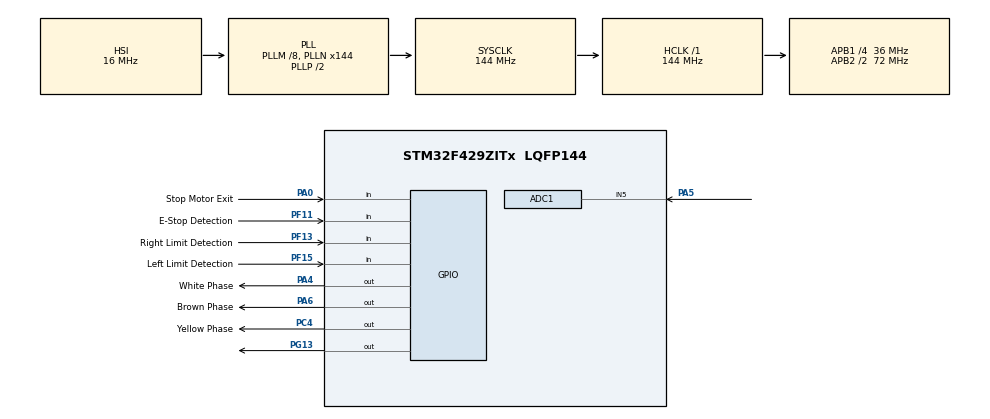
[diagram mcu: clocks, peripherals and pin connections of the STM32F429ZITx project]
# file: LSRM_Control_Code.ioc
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ADC1.Channel-0\#ChannelRegularConversion=ADC_CHANNEL_5
ADC1.ContinuousConvMode=ENABLE
ADC1.DMAContinuousRequests=ENABLE
ADC1.NbrOfConversionFlag=1
ADC1.Rank-0\#ChannelRegularConversion=1
ADC1.SamplingTime-0\#ChannelRegularConversion=ADC_SAMPLETIME_3CYCLES
ADC1.master=1
Dma.ADC1.0.Direction=DMA_PERIPH_TO_MEMORY
Dma.ADC1.0.FIFOMode=DMA_FIFOMODE_DISABLE
Dma.ADC1.0.Instance=DMA2_Stream0
Dma.ADC1.0.MemDataAlignment=DMA_MDATAALIGN_HALFWORD
Dma.ADC1.0.MemInc=DMA_MINC_ENABLE
Dma.ADC1.0.Mode=DMA_CIRCULAR
Dma.ADC1.0.PeriphDataAlignment=DMA_PDATAALIGN_HALFWORD
Dma.ADC1.0.PeriphInc=DMA_PINC_DISABLE
Dma.ADC1.0.Priority=DMA_PRIORITY_LOW
Dma.Request0=ADC1
Mcu.Family=STM32F4
Mcu.Name=STM32F429ZITx
Mcu.Package=LQFP144
NVIC.DMA2_Stream0_IRQn=true\:0\:0\:false\:false\:true\:false\:true
NVIC.PriorityGroup=NVIC_PRIORITYGROUP_4
NVIC.TIM8_UP_TIM13_IRQn=true\:15\:0\:false\:false\:true\:false\:true
NVIC.TimeBase=TIM8_UP_TIM13_IRQn
NVIC.TimeBaseIP=TIM13
PA0/WKUP.GPIO_Label=Stop Motor Exit
PA0/WKUP.Signal=GPIO_Input
PA4.GPIO_Label=White Phase
PA4.Signal=GPIO_Output
PA5.Signal=ADCx_IN5
PA6.GPIO_Label=Brown Phase
PA6.Signal=GPIO_Output
PC11.Signal=UART4_RX
PC4.GPIO_Label=Yellow Phase
PC4.Signal=GPIO_Output
PF11.GPIO_Label=E-Stop Detection
PF11.Signal=GPIO_Input
PF13.GPIO_Label=Right Limit Detection
PF13.Signal=GPIO_Input
PF15.GPIO_Label=Left Limit Detection
PF15.Signal=GPIO_Input
PG13.Signal=GPIO_Output
PH0/OSC_IN.Mode=HSE-External-Oscillator
PH0/OSC_IN.Signal=RCC_OSC_IN
PH1/OSC_OUT.Mode=HSE-External-Oscillator
PH1/OSC_OUT.Signal=RCC_OSC_OUT
ProjectManager.HeapSize=0x200
ProjectManager.StackSize=0x400
ProjectManager.TargetToolchain=STM32CubeIDE
RCC.48MHZClocksFreq_Value=96000000
RCC.AHBFreq_Value=144000000
RCC.APB1CLKDivider=RCC_HCLK_DIV4
RCC.APB1Freq_Value=36000000
RCC.APB1TimFreq_Value=72000000
RCC.APB2CLKDivider=RCC_HCLK_DIV2
RCC.APB2Freq_Value=72000000
RCC.APB2TimFreq_Value=144000000
RCC.CortexFreq_Value=144000000
RCC.HCLKFreq_Value=144000000
RCC.HSE_VALUE=8000000
RCC.HSI_VALUE=16000000
RCC.LSE_VALUE=32768
RCC.PLLM=8
RCC.PLLN=144
RCC.PLLQ=3
RCC.PLLSAIN=50
RCC.SYSCLKFreq_VALUE=144000000
RCC.SYSCLKSource=RCC_SYSCLKSOURCE_PLLCLK
RCC.VCOOutputFreq_Value=288000000
SH.ADCx_IN5.0=ADC1_IN5,IN5
TIM2.Period=1500
TIM2.Prescaler=2
VP_SYS_VS_tim13.Mode=TIM13
VP_TIM2_VS_ClockSourceINT.Mode=Internal
board=STM32F429I-DISC1

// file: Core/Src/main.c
/* USER CODE BEGIN Header */
/**
  ******************************************************************************
  * @file           : main.c
  * @brief          : Main program body
  ******************************************************************************
  * @attention
  *
  * <h2><center>&copy; Copyright (c) 2021 STMicroelectronics.
  * All rights reserved.</center></h2>
  *
  * This software component is licensed by ST under BSD 3-Clause license,
  * the "License"; You may not use this file except in compliance with the
  * License. You may obtain a copy of the License at:
  *                        opensource.org/licenses/BSD-3-Clause
  *
  ******************************************************************************
  */
/* USER CODE END Header */
#include "main.h"

/* USER CODE BEGIN Includes */
#include <string.h>
/* USER CODE END Includes */

/* USER CODE BEGIN PM */
#define sampleSize 4096
#define adcBufferLength (sampleSize * 2)
#define bufferLength 1
/* USER CODE END PM */

ADC_HandleTypeDef hadc1;
DMA_HandleTypeDef hdma_adc1;

TIM_HandleTypeDef htim2;

/* USER CODE BEGIN PV */

uint16_t adcBuffer[adcBufferLength];
uint16_t adcBufferTemp[adcBufferLength];
uint32_t adcDistanceCount = 0;

//Conversion ratio variable:
float MM_PPR_Forward = (6300.0f / 765.0f);
float MM_PPR_Reverse = (11100.0f / 765.0f);

//Time delay variable
const int forwardDelay = 21;
const int reverseDelay = 21;

//Segment identification variable:
/* if the colourSelector = 0 -> White segment excited
 * if the colourSelector = 1 -> Brown segment excited
 * if the colourSelector = 2 -> Yellow segment excited
 */
int colourSelector = 0;

/* Flag variables used to determine which direction the motor
 * may run.
 */
int forward = 1;
int forwardFinal = 0;
int reverse = 0;
int returnHome = 0;

/* Directional distance variables used to tell the motor how
 * far to travel in either of the two directions. Because the
 * motor moves in incremental steps, there are minimum travel
 * distances that the motor can move, which are approximately
 * a minimum of 6mm increments.
 */
int forwardDistance = 1500;
int reverseDistance = 1500;
int forwardFinalDistance = 500;

//Temporary placeholder variables
int stop_reset = 0;

//Bluetooth GUI module variables
uint8_t RxBuffer[bufferLength] = {0};
uint8_t mydata[] = "";
uint8_t mydata_bt[] = "";
uint8_t store_data[2] = "";

/* USER CODE END PV */

void SystemClock_Config(void);
static void MX_GPIO_Init(void);
static void MX_DMA_Init(void);
static void MX_TIM2_Init(void);
static void MX_ADC1_Init(void);
/* USER CODE BEGIN PFP */
void run_Forward_Sequence(int);
void run_Reverse_Sequence(int);
void stop_Motor();
void motor_ReturnHome();

/* USER CODE END PFP */

int main(void)
{

  /* MCU Configuration--------------------------------------------------------*/

  /* Reset of all peripherals, Initializes the Flash interface and the Systick. */
  HAL_Init();

  /* Configure the system clock */
  SystemClock_Config();

  /* Initialize all configured peripherals */
  MX_GPIO_Init();
  MX_DMA_Init();
  MX_TIM2_Init();
  MX_ADC1_Init();
  /* USER CODE BEGIN 2 */

  /* Initialise the connection between the ADC Buffer and DMA. This
   * allows me to store all ADC readings directly into memory without
   * having to pass through the processor. This will prevent the
   * processor from slowing down during other computation.
   */
  HAL_ADC_Start_DMA(&hadc1, (uint32_t*)adcBuffer, adcBufferLength);

  /* USER CODE END 2 */

  /* Infinite loop */
  /* USER CODE BEGIN WHILE */
  /* Before the motor receives commands, it must always move to the
   * left most position on the rail so that the first forward command
   * can execute.
   */
  while(!HAL_GPIO_ReadPin(GPIOF, GPIO_PIN_11)){
	  HAL_GPIO_WritePin(GPIOA, GPIO_PIN_4, GPIO_PIN_SET); 	//Brown
	  HAL_GPIO_WritePin(GPIOA, GPIO_PIN_6, GPIO_PIN_SET);	//White
	  HAL_GPIO_WritePin(GPIOC, GPIO_PIN_4, GPIO_PIN_SET);	//Yellow
  }
  motor_ReturnHome();
  while (1)
  {
    /* USER CODE END WHILE */

    /* USER CODE BEGIN 3 */

	  /* The first check-point or criterion that needs to be satisfied
	   * is that the E-Stop switch must not be depressed. When the E-Stop
	   * is depressed, it breaks the circuit and sends a logic low level to
	   * the board GPIO.
	   */
	  while(HAL_GPIO_ReadPin(GPIOF, GPIO_PIN_11)){

		  /* The criterion for the forward movement for the motor is that the
		   * forward flag must be set and the right-most limit switch must not
		   * be depressed. If depressed, it implies the motor has reached the
		   * end of the rail. Once finished moving, the forward flag is reset
		   * and the reverse flag is set.
		   */
		  if (forward && !HAL_GPIO_ReadPin(GPIOF, GPIO_PIN_13)){
			  run_Forward_Sequence(forwardDistance);
			  stop_Motor();
			  adcDistanceCount = 0;
			  forward = 0;
			  forwardFinal = 0;
			  reverse = 1;
		  }

		  /* The criterion for the reverse movement for the motor is that the
		   * reverse flag must be set and the left-most limit switch must not
		   * be depressed. If depressed, it implies the motor has reached the
		   * end of the rail. Once finished moving, the forwardFinal flag is
		   * set and the reverse flag is reset.
		   */
		  else if(reverse && !HAL_GPIO_ReadPin(GPIOF, GPIO_PIN_15)){
			  run_Reverse_Sequence(reverseDistance);
			  stop_Motor();
			  adcDistanceCount = 0;
			  reverse = 0;
			  forward = 0;
			  forwardFinal = 1;
		  }

		  /* The criterion for this final forward movement is identical to
		   * that of the forward movement described above. When finished moving,
		   * all directional flags are reset and the motor must return back to
		   * its starting position.
		   */
		  else if(forwardFinal && !HAL_GPIO_ReadPin(GPIOF, GPIO_PIN_13)){
			  run_Forward_Sequence(forwardFinalDistance);
			  stop_Motor();
			  adcDistanceCount = 0;
			  motor_ReturnHome();
			  adcDistanceCount = 0;
			  forwardFinal = 0;
			  reverse = 0;
			  forward = 0;
			  HAL_GPIO_WritePin(GPIOA, GPIO_PIN_4, GPIO_PIN_SET); 	//Brown
			  HAL_GPIO_WritePin(GPIOA, GPIO_PIN_6, GPIO_PIN_SET);	//White
			  HAL_GPIO_WritePin(GPIOC, GPIO_PIN_4, GPIO_PIN_SET);	//Yellow
		  }
	  }

	  HAL_GPIO_WritePin(GPIOA, GPIO_PIN_4, GPIO_PIN_SET); 	//Brown
	  HAL_GPIO_WritePin(GPIOA, GPIO_PIN_6, GPIO_PIN_SET);	//White
	  HAL_GPIO_WritePin(GPIOC, GPIO_PIN_4, GPIO_PIN_SET);	//Yellow
  }
  /* USER CODE END 3 */
}

void SystemClock_Config(void)
{
  RCC_OscInitTypeDef RCC_OscInitStruct = {0};
  RCC_ClkInitTypeDef RCC_ClkInitStruct = {0};

  /** Configure the main internal regulator output voltage
  */
  __HAL_RCC_PWR_CLK_ENABLE();
  __HAL_PWR_VOLTAGESCALING_CONFIG(PWR_REGULATOR_VOLTAGE_SCALE1);
  /** Initializes the RCC Oscillators according to the specified parameters
  * in the RCC_OscInitTypeDef structure.
  */
  RCC_OscInitStruct.OscillatorType = RCC_OSCILLATORTYPE_HSI;
  RCC_OscInitStruct.HSIState = RCC_HSI_ON;
  RCC_OscInitStruct.HSICalibrationValue = RCC_HSICALIBRATION_DEFAULT;
  RCC_OscInitStruct.PLL.PLLState = RCC_PLL_ON;
  RCC_OscInitStruct.PLL.PLLSource = RCC_PLLSOURCE_HSI;
  RCC_OscInitStruct.PLL.PLLM = 8;
  RCC_OscInitStruct.PLL.PLLN = 144;
  RCC_OscInitStruct.PLL.PLLP = RCC_PLLP_DIV2;
  RCC_OscInitStruct.PLL.PLLQ = 3;
  if (HAL_RCC_OscConfig(&RCC_OscInitStruct) != HAL_OK)
  {
    Error_Handler();
  }
  /** Initializes the CPU, AHB and APB buses clocks
  */
  RCC_ClkInitStruct.ClockType = RCC_CLOCKTYPE_HCLK|RCC_CLOCKTYPE_SYSCLK
                              |RCC_CLOCKTYPE_PCLK1|RCC_CLOCKTYPE_PCLK2;
  RCC_ClkInitStruct.SYSCLKSource = RCC_SYSCLKSOURCE_PLLCLK;
  RCC_ClkInitStruct.AHBCLKDivider = RCC_SYSCLK_DIV1;
  RCC_ClkInitStruct.APB1CLKDivider = RCC_HCLK_DIV4;
  RCC_ClkInitStruct.APB2CLKDivider = RCC_HCLK_DIV2;

  if (HAL_RCC_ClockConfig(&RCC_ClkInitStruct, FLASH_LATENCY_4) != HAL_OK)
  {
    Error_Handler();
  }
}

static void MX_ADC1_Init(void)
{

  ADC_ChannelConfTypeDef sConfig = {0};

  /** Configure the global features of the ADC (Clock, Resolution, Data Alignment and number of conversion)
  */
  hadc1.Instance = ADC1;
  hadc1.Init.ClockPrescaler = ADC_CLOCK_SYNC_PCLK_DIV2;
  hadc1.Init.Resolution = ADC_RESOLUTION_12B;
  hadc1.Init.ScanConvMode = DISABLE;
  hadc1.Init.ContinuousConvMode = ENABLE;
  hadc1.Init.DiscontinuousConvMode = DISABLE;
  hadc1.Init.ExternalTrigConvEdge = ADC_EXTERNALTRIGCONVEDGE_NONE;
  hadc1.Init.ExternalTrigConv = ADC_SOFTWARE_START;
  hadc1.Init.DataAlign = ADC_DATAALIGN_RIGHT;
  hadc1.Init.NbrOfConversion = 1;
  hadc1.Init.DMAContinuousRequests = ENABLE;
  hadc1.Init.EOCSelection = ADC_EOC_SINGLE_CONV;
  if (HAL_ADC_Init(&hadc1) != HAL_OK)
  {
    Error_Handler();
  }
  /** Configure for the selected ADC regular channel its corresponding rank in the sequencer and its sample time.
  */
  sConfig.Channel = ADC_CHANNEL_5;
  sConfig.Rank = 1;
  sConfig.SamplingTime = ADC_SAMPLETIME_3CYCLES;
  if (HAL_ADC_ConfigChannel(&hadc1, &sConfig) != HAL_OK)
  {
    Error_Handler();
  }

}

static void MX_TIM2_Init(void)
{

  TIM_ClockConfigTypeDef sClockSourceConfig = {0};
  TIM_MasterConfigTypeDef sMasterConfig = {0};

  htim2.Instance = TIM2;
  htim2.Init.Prescaler = 2;
  htim2.Init.CounterMode = TIM_COUNTERMODE_UP;
  htim2.Init.Period = 1500;
  htim2.Init.ClockDivision = TIM_CLOCKDIVISION_DIV1;
  htim2.Init.AutoReloadPreload = TIM_AUTORELOAD_PRELOAD_DISABLE;
  if (HAL_TIM_Base_Init(&htim2) != HAL_OK)
  {
    Error_Handler();
  }
  sClockSourceConfig.ClockSource = TIM_CLOCKSOURCE_INTERNAL;
  if (HAL_TIM_ConfigClockSource(&htim2, &sClockSourceConfig) != HAL_OK)
  {
    Error_Handler();
  }
  sMasterConfig.MasterOutputTrigger = TIM_TRGO_RESET;
  sMasterConfig.MasterSlaveMode = TIM_MASTERSLAVEMODE_DISABLE;
  if (HAL_TIMEx_MasterConfigSynchronization(&htim2, &sMasterConfig) != HAL_OK)
  {
    Error_Handler();
  }

}

static void MX_DMA_Init(void)
{

  /* DMA controller clock enable */
  __HAL_RCC_DMA2_CLK_ENABLE();

  /* DMA interrupt init */
  /* DMA2_Stream0_IRQn interrupt configuration */
  HAL_NVIC_SetPriority(DMA2_Stream0_IRQn, 0, 0);
  HAL_NVIC_EnableIRQ(DMA2_Stream0_IRQn);

}

static void MX_GPIO_Init(void)
{
  GPIO_InitTypeDef GPIO_InitStruct = {0};

  /* GPIO Ports Clock Enable */
  __HAL_RCC_GPIOH_CLK_ENABLE();
  __HAL_RCC_GPIOA_CLK_ENABLE();
  __HAL_RCC_GPIOC_CLK_ENABLE();
  __HAL_RCC_GPIOF_CLK_ENABLE();
  __HAL_RCC_GPIOG_CLK_ENABLE();

  /*Configure GPIO pin Output Level */
  HAL_GPIO_WritePin(GPIOA, White_Phase_Pin|Brown_Phase_Pin, GPIO_PIN_RESET);

  /*Configure GPIO pin Output Level */
  HAL_GPIO_WritePin(Yellow_Phase_GPIO_Port, Yellow_Phase_Pin, GPIO_PIN_RESET);

  /*Configure GPIO pin Output Level */
  HAL_GPIO_WritePin(GPIOG, GPIO_PIN_13, GPIO_PIN_RESET);

  /*Configure GPIO pin : Stop_Motor_Exit_Pin */
  GPIO_InitStruct.Pin = Stop_Motor_Exit_Pin;
  GPIO_InitStruct.Mode = GPIO_MODE_INPUT;
  GPIO_InitStruct.Pull = GPIO_NOPULL;
  HAL_GPIO_Init(Stop_Motor_Exit_GPIO_Port, &GPIO_InitStruct);

  /*Configure GPIO pins : White_Phase_Pin Brown_Phase_Pin */
  GPIO_InitStruct.Pin = White_Phase_Pin|Brown_Phase_Pin;
  GPIO_InitStruct.Mode = GPIO_MODE_OUTPUT_PP;
  GPIO_InitStruct.Pull = GPIO_NOPULL;
  GPIO_InitStruct.Speed = GPIO_SPEED_FREQ_LOW;
  HAL_GPIO_Init(GPIOA, &GPIO_InitStruct);

  /*Configure GPIO pin : Yellow_Phase_Pin */
  GPIO_InitStruct.Pin = Yellow_Phase_Pin;
  GPIO_InitStruct.Mode = GPIO_MODE_OUTPUT_PP;
  GPIO_InitStruct.Pull = GPIO_NOPULL;
  GPIO_InitStruct.Speed = GPIO_SPEED_FREQ_LOW;
  HAL_GPIO_Init(Yellow_Phase_GPIO_Port, &GPIO_InitStruct);

  /*Configure GPIO pins : E_Stop_Detection_Pin Right_Limit_Detection_Pin Left_Limit_Detection_Pin */
  GPIO_InitStruct.Pin = E_Stop_Detection_Pin|Right_Limit_Detection_Pin|Left_Limit_Detection_Pin;
  GPIO_InitStruct.Mode = GPIO_MODE_INPUT;
  GPIO_InitStruct.Pull = GPIO_NOPULL;
  HAL_GPIO_Init(GPIOF, &GPIO_InitStruct);

  /*Configure GPIO pin : PC11 */
  GPIO_InitStruct.Pin = GPIO_PIN_11;
  GPIO_InitStruct.Mode = GPIO_MODE_AF_PP;
  GPIO_InitStruct.Pull = GPIO_NOPULL;
  GPIO_InitStruct.Speed = GPIO_SPEED_FREQ_VERY_HIGH;
  GPIO_InitStruct.Alternate = GPIO_AF8_UART4;
  HAL_GPIO_Init(GPIOC, &GPIO_InitStruct);

  /*Configure GPIO pin : PG13 */
  GPIO_InitStruct.Pin = GPIO_PIN_13;
  GPIO_InitStruct.Mode = GPIO_MODE_OUTPUT_PP;
  GPIO_InitStruct.Pull = GPIO_NOPULL;
  GPIO_InitStruct.Speed = GPIO_SPEED_FREQ_LOW;
  HAL_GPIO_Init(GPIOG, &GPIO_InitStruct);

}

/* USER CODE BEGIN 4 */

/*******************************/
/* Setting up code for the ADC */
/*******************************/

/* This half callback function provides the calculations required
 * on the first half of the DMA register being used.
 */
void HAL_ADC_ConvHalfCpltCallback(ADC_HandleTypeDef* hadc){

	for(int i = 1; (i < sampleSize + 1); i++){
			adcBufferTemp[i-1] = adcBuffer[i-1];
			if((adcBufferTemp[i] > 2900) && (adcBufferTemp[i-1] < 500)){
				adcDistanceCount++;
			}
		}
}

/* This complete callback function provides the calculations
 * required on the second half of the DMA register being used.
 */
void HAL_ADC_ConvCpltCallback(ADC_HandleTypeDef* hadc){

	for(int i = sampleSize+1; (i < 2*sampleSize+1); i++){
			adcBufferTemp[i-1] = adcBuffer[i-1];
			if((adcBufferTemp[i] > 2900) && (adcBufferTemp[i-1] < 500)){
				adcDistanceCount++;
			}
		}
}

/*******************************/
/* Forward Operation of Motor  */
/*******************************/
void run_Forward_Sequence(int distance) {
	/* Inside this function, the goal is to cycle through the output pins
	 * associated to the motor segments to successfully move in the
	 * forward direction. The pins excitation or pin HIGH/LOW allocation
	 * is as follows:
	 * 1. Brown (Pin A4)
	 * 2. White (Pin A6)
	 * 3. Yellow (Pin C4)
	 * Exciting these three cable colours in this order will move the
	 * motor forward successfully (left to right on the rail).
	 *
	 * Before this can be done, I first need to convert the ADC reading to
	 * a valid distance measurement to tell the forward sequence to know
	 * when to stop cycling. */

	int adcCountReq = (int)(distance * MM_PPR_Forward);

	/* First, I check whether or not the E-Stop button is depressed before
	 * allowing the remainer of the code to run.
	 */
	while (HAL_GPIO_ReadPin(GPIOF, GPIO_PIN_11) && adcDistanceCount < adcCountReq && !HAL_GPIO_ReadPin(GPIOF, GPIO_PIN_13)){
		/* Inside this while loop, I want to cycle through the output pins
		 * connected to the relays controlling which motor segment to excite.
		 */
		if (adcDistanceCount < adcCountReq && (forward || forwardFinal) && !HAL_GPIO_ReadPin(GPIOF, GPIO_PIN_13) && HAL_GPIO_ReadPin(GPIOF, GPIO_PIN_11)){
			/* If all of the criteria for the if statement are met, the first
			 * of the three segments will be excited by writing the digital
			 * output pin high as follows:
			 *
			 * On a side note, because a P-channel transistor is implemented
			 * on the switching circuit, the logic level for the relays need to
			 * be inversed to switch. Therefore, whenever a pin is reset, the
			 * relay coil conducts.
			 */
			HAL_GPIO_WritePin(GPIOA, GPIO_PIN_4, GPIO_PIN_RESET); 	//Brown
			HAL_GPIO_WritePin(GPIOA, GPIO_PIN_6, GPIO_PIN_SET);		//White
			HAL_GPIO_WritePin(GPIOC, GPIO_PIN_4, GPIO_PIN_SET);		//Yellow
			colourSelector = 0;
			HAL_Delay(forwardDelay);
		}

		if(adcDistanceCount < adcCountReq && (forward || forwardFinal) && !HAL_GPIO_ReadPin(GPIOF, GPIO_PIN_13) && HAL_GPIO_ReadPin(GPIOF, GPIO_PIN_11)){
			/* If all the criteria for the if statement are met, the next
			 * segment will be excited by writing the digital output pin
			 * high as follows:
			 *
			 * On a side note, because a P-channel transistor is implemented
			 * on the switching circuit, the logic level for the relays need to
			 * be inversed to switch. Therefore, whenever a pin is reset, the
			 * relay coil conducts.
			 */
			HAL_GPIO_WritePin(GPIOA, GPIO_PIN_4, GPIO_PIN_SET);		//Brown
			HAL_GPIO_WritePin(GPIOA, GPIO_PIN_6, GPIO_PIN_RESET);	//White
			HAL_GPIO_WritePin(GPIOC, GPIO_PIN_4, GPIO_PIN_SET);		//Yellow
			colourSelector = 1;
			HAL_Delay(forwardDelay);
		}

		if(adcDistanceCount < adcCountReq && (forward || forwardFinal) && !HAL_GPIO_ReadPin(GPIOF, GPIO_PIN_13) && HAL_GPIO_ReadPin(GPIOF, GPIO_PIN_11)){
			/* If all the criteria for the if statement are met, the final
			 * segment of the motor will be excited by writing the digital
			 * output pin high as follows:
			 *
			 * On a side note, because a P-channel transistor is implemented
			 * on the switching circuit, the logic level for the relays need to
			 * be inversed to switch. Therefore, whenever a pin is reset, the
			 * relay coil conducts.
			 */
			HAL_GPIO_WritePin(GPIOA, GPIO_PIN_4, GPIO_PIN_SET);		//Brown
			HAL_GPIO_WritePin(GPIOA, GPIO_PIN_6, GPIO_PIN_SET);		//White
			HAL_GPIO_WritePin(GPIOC, GPIO_PIN_4, GPIO_PIN_RESET);	//Yellow
			colourSelector = 2;
			HAL_Delay(forwardDelay);
		}
	}
	return;
}

/*******************************/
/* Reverse Operation of Motor  */
/*******************************/

void run_Reverse_Sequence(int distance){
	/* Similarly as for the run_Forward_Sequence() function, the goal is to just
	 * reverse the direction of travel for the motor by reversing the excitation
	 * cycling of the motor segments. Therefore, the excitation cycling will
	 * will following the pattern below:
	 * 1. Yellow
	 * 2. White
	 * 3. Brown
	 * Exciting in this order will cause for the motor to run in the reverse
	 * direction (right to left on the rail)
	 *
	 * Again, the ADC PPR value needs to be determined first to allow the
	 * function to determine when the reverse sequence needs to stop running:*/

	int adcCountReq = (int)(distance * MM_PPR_Reverse);

	/* First I check to see if the E-Stop button has been depressed before
	 * running the remainder of the code.
	 */
	while (HAL_GPIO_ReadPin(GPIOF, GPIO_PIN_11) && adcDistanceCount < adcCountReq && !HAL_GPIO_ReadPin(GPIOF, GPIO_PIN_15)) {
		/* Inside this while loop, I want to cycle through the output pins
		 * connected to the relays controlling which motor segment to excite.
		 * I first need to do the timing considerations before I can program
		 * the cycling sequence. */

		if (adcDistanceCount < adcCountReq && (reverse || returnHome) && !HAL_GPIO_ReadPin(GPIOF, GPIO_PIN_15) && HAL_GPIO_ReadPin(GPIOF, GPIO_PIN_11)){
			/* If all of the criteria for the if statement are met, the first
			 * of the three segments will be excited by writing the digital
			 * output pin high as follows:
			 *
			 * On a side note, because a P-channel transistor is implemented
			 * on the switching circuit, the logic level for the relays need to
			 * be inversed to switch. Therefore, whenever a pin is reset, the
			 * relay coil conducts.
			 */
			HAL_GPIO_WritePin(GPIOA, GPIO_PIN_4, GPIO_PIN_RESET);  //Brown
			HAL_GPIO_WritePin(GPIOA, GPIO_PIN_6, GPIO_PIN_SET);	   //White
			HAL_GPIO_WritePin(GPIOC, GPIO_PIN_4, GPIO_PIN_SET);	   //Yellow
			colourSelector = 0;
			HAL_Delay(reverseDelay);
		}

		if(adcDistanceCount < adcCountReq && (reverse || returnHome) && !HAL_GPIO_ReadPin(GPIOF, GPIO_PIN_15) && HAL_GPIO_ReadPin(GPIOF, GPIO_PIN_11)){
			/* If all the criteria for the if statement are met, the next
			 * segment will be excited by writing the digital output pin
			 * high as follows:
			 *
			 * On a side note, because a P-channel transistor is implemented
			 * on the switching circuit, the logic level for the relays need to
			 * be inversed to switch. Therefore, whenever a pin is reset, the
			 * relay coil conducts.
			 */
			HAL_GPIO_WritePin(GPIOA, GPIO_PIN_4, GPIO_PIN_SET);		//Brown
			HAL_GPIO_WritePin(GPIOA, GPIO_PIN_6, GPIO_PIN_SET);		//White
			HAL_GPIO_WritePin(GPIOC, GPIO_PIN_4, GPIO_PIN_RESET);	//Yellow
			colourSelector = 2;
			HAL_Delay(reverseDelay);
		}

		if(adcDistanceCount < adcCountReq && (reverse || returnHome) && !HAL_GPIO_ReadPin(GPIOF, GPIO_PIN_15) && HAL_GPIO_ReadPin(GPIOF, GPIO_PIN_11)){
			/* If all the criteria for the if statement are met, the final
			 * segment of the motor will be excited by writing the digital
			 * output pin high as follows:
			 *
			 * On a side note, because a P-channel transistor is implemented
			 * on the switching circuit, the logic level for the relays need to
			 * be inversed to switch. Therefore, whenever a pin is reset, the
			 * relay coil conducts.
			 */
			HAL_GPIO_WritePin(GPIOA, GPIO_PIN_4, GPIO_PIN_SET);		//Brown
			HAL_GPIO_WritePin(GPIOA, GPIO_PIN_6, GPIO_PIN_RESET);	//White
			HAL_GPIO_WritePin(GPIOC, GPIO_PIN_4, GPIO_PIN_SET);		//Yellow
			colourSelector = 1;
			HAL_Delay(reverseDelay);
		}
	}
	return;
}

/*******************************/
/*   Stop Operation of Motor   */
/*******************************/

void stop_Motor(){
	/* The objective of this function is to excite a single segment of the motor
	 * that was last excited to stop the motor from moving. Essentially, I
	 * need to know which segment was excited last and then hold the excitation
	 * on that segment until  a new distance command is called or provided.*/

	while (!HAL_GPIO_ReadPin(GPIOA, GPIO_PIN_0) && HAL_GPIO_ReadPin(GPIOF, GPIO_PIN_11)){
		if (colourSelector == 0){
			HAL_GPIO_WritePin(GPIOA, GPIO_PIN_4, GPIO_PIN_RESET);	//Brown
			HAL_GPIO_WritePin(GPIOA, GPIO_PIN_6, GPIO_PIN_SET);		//White
			HAL_GPIO_WritePin(GPIOC, GPIO_PIN_4, GPIO_PIN_SET);		//Yellow
		}

		if (colourSelector == 1){
			HAL_GPIO_WritePin(GPIOA, GPIO_PIN_4, GPIO_PIN_SET);		//Brown
			HAL_GPIO_WritePin(GPIOA, GPIO_PIN_6, GPIO_PIN_RESET);	//White
			HAL_GPIO_WritePin(GPIOC, GPIO_PIN_4, GPIO_PIN_SET);		//Yellow
		}

		if (colourSelector == 2){
			HAL_GPIO_WritePin(GPIOA, GPIO_PIN_4, GPIO_PIN_SET);		//Brown
			HAL_GPIO_WritePin(GPIOA, GPIO_PIN_6, GPIO_PIN_SET);		//White
			HAL_GPIO_WritePin(GPIOC, GPIO_PIN_4, GPIO_PIN_RESET);	//Yellow
		}
	}
	return;

	/* I need to figure out an exit strategy for this function. I am not yet sure how I
	 * can leave the stop_Motor function. Maybe the best way is to use the on-board
	 * push-button as my exit strategy. Once the button is pushed, exit
	 * the function.
	 */
}

/**********************************/
/* Return Home Operation of Motor */
/**********************************/

void motor_ReturnHome(){
	/* The objective of this function is to move the motor from any position on the
	 * motor rail back to the left-most position on the rail and only stop once
	 * the left-most limit switch has been triggered.
	 */

	/* First I check to see if the E-Stop button is depressed before
	 * running the remainder of the code.
	 */
	returnHome = 1;
	if (HAL_GPIO_ReadPin(GPIOF, GPIO_PIN_11) && !HAL_GPIO_ReadPin(GPIOF, GPIO_PIN_15)){
		run_Reverse_Sequence(2000);
		stop_Motor();
		returnHome = 0;
		adcDistanceCount = 0;
	}
	return;
}

/*******************************/
/* 	 Blue tooth Module GUI     */
/*******************************/

//void HAL_UART_RxCpltCallback(UART_HandleTypeDef *huart){
//
//	int temp = strlen((char*)mydata_bt);
//
//	for (int i = 0; i < temp; i++){
//		store_data[i] = mydata_bt[i];
//	}
//
//	//Create variables to provide on/off functionality
////	char on[1] = 'n';
////	char off[1] = 'f';
//
//	if (store_data[0] == 'n'){
//		HAL_GPIO_WritePin(GPIOG, GPIO_PIN_13, GPIO_PIN_SET);
//		store_data[0] = '0';
//		store_data[1] = '0';
//	}else if (store_data[0] == 'f'){
//		HAL_GPIO_WritePin(GPIOG, GPIO_PIN_13, GPIO_PIN_RESET);
//		store_data[0] = '0';
//		store_data[1] = '0';
//	}
//
//}

/* USER CODE END 4 */

void HAL_TIM_PeriodElapsedCallback(TIM_HandleTypeDef *htim)
{
  if (htim->Instance == TIM13) {
    HAL_IncTick();
  }
}

void Error_Handler(void)
{
  __disable_irq();
  while (1)
  {
  }
}

/************************ (C) COPYRIGHT STMicroelectronics *****END OF FILE****/
